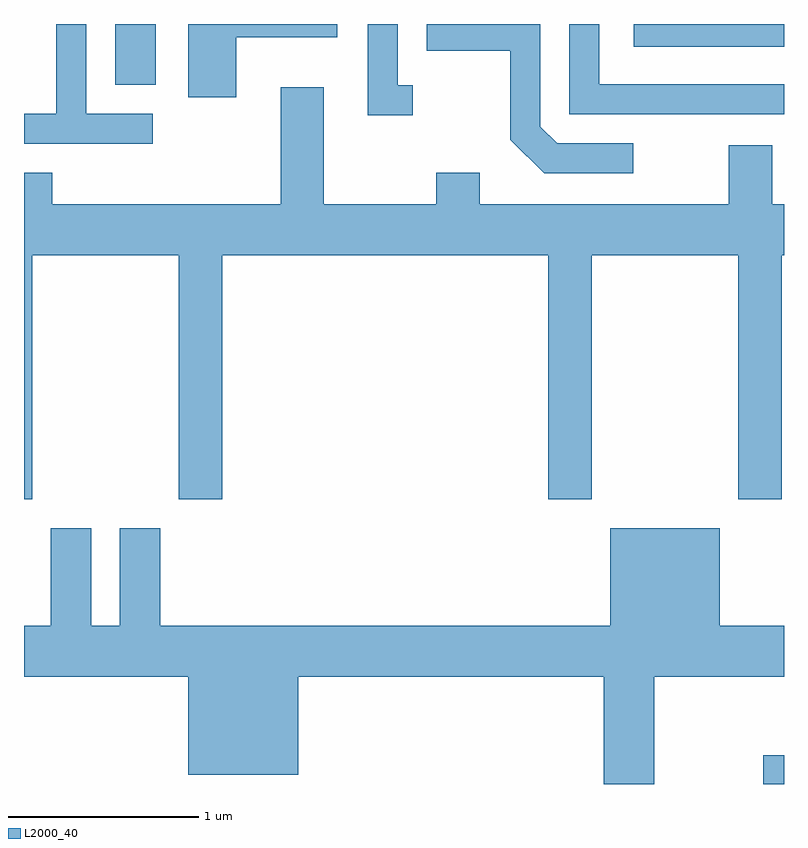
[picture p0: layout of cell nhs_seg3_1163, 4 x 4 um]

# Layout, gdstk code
import gdstk
lib = gdstk.Library(unit=1e-6, precision=1e-09)
def R(c, l, rs):  # rectangles x0, y0, x1, y1
    for r in rs: c.add(gdstk.rectangle(r[:2], r[2:], *l))
def P(c, l, *ps):  # polygons
    for p in ps: c.add(gdstk.Polygon(p, *l))
L2000_40 = (2000, 40)

nhs_seg3_1163 = lib.new_cell('nhs_seg3_1163')
R(nhs_seg3_1163, L2000_40, [(223.501,1129.892,223.611,1130.044), (220.091,1133.571,220.304,1133.892), (222.821,1133.771,223.611,1133.892)])
P(nhs_seg3_1163, L2000_40, [(220.729,1133.821),(221.259,1133.821),(221.259,1133.892),(220.476,1133.892),(220.476,1133.506),(220.729,1133.506)],
  [(221.658,1133.569),(221.579,1133.569),(221.579,1133.892),(221.421,1133.892),(221.421,1133.411),(221.658,1133.411)],
  [(223.611,1133.574),(222.639,1133.574),(222.639,1133.892),(222.481,1133.892),(222.481,1133.416),(223.611,1133.416)],
  [(222.818,1133.264),(222.417,1133.264),(222.329,1133.352),(222.329,1133.892),(221.731,1133.892),(221.731,1133.751),(222.171,1133.751),(222.171,1133.284),(222.349,1133.106),(222.818,1133.106)],
  [(220.288,1133.419),(219.939,1133.419),(219.939,1133.892),(219.781,1133.892),(219.781,1133.419),(219.611,1133.419),(219.611,1133.261),(220.288,1133.261)],
  [(219.654,1132.676),(220.426,1132.676),(220.426,1131.391),(220.654,1131.391),(220.654,1132.676),(222.371,1132.676),(222.371,1131.391),(222.599,1131.391),(222.599,1132.676),(223.371,1132.676),(223.371,1131.391),(223.599,1131.391),(223.599,1132.676),(223.611,1132.676),(223.611,1132.944),(223.549,1132.944),(223.549,1133.254),(223.321,1133.254),(223.321,1132.944),(222.009,1132.944),(222.009,1133.109),(221.781,1133.109),(221.781,1132.944),(221.189,1132.944),(221.189,1133.559),(220.961,1133.559),(220.961,1132.944),(219.759,1132.944),(219.759,1133.109),(219.611,1133.109),(219.611,1131.391),(219.654,1131.391)],
  [(222.929,1130.456),(223.611,1130.456),(223.611,1130.724),(223.274,1130.724),(223.274,1131.239),(222.696,1131.239),(222.696,1130.724),(220.329,1130.724),(220.329,1131.239),(220.116,1131.239),(220.116,1130.724),(219.964,1130.724),(219.964,1131.239),(219.751,1131.239),(219.751,1130.724),(219.611,1130.724),(219.611,1130.456),(220.476,1130.456),(220.476,1129.941),(221.054,1129.941),(221.054,1130.456),(222.661,1130.456),(222.661,1129.892),(222.929,1129.892)])

lib.write_gds('nhs_seg3_1163.gds')
